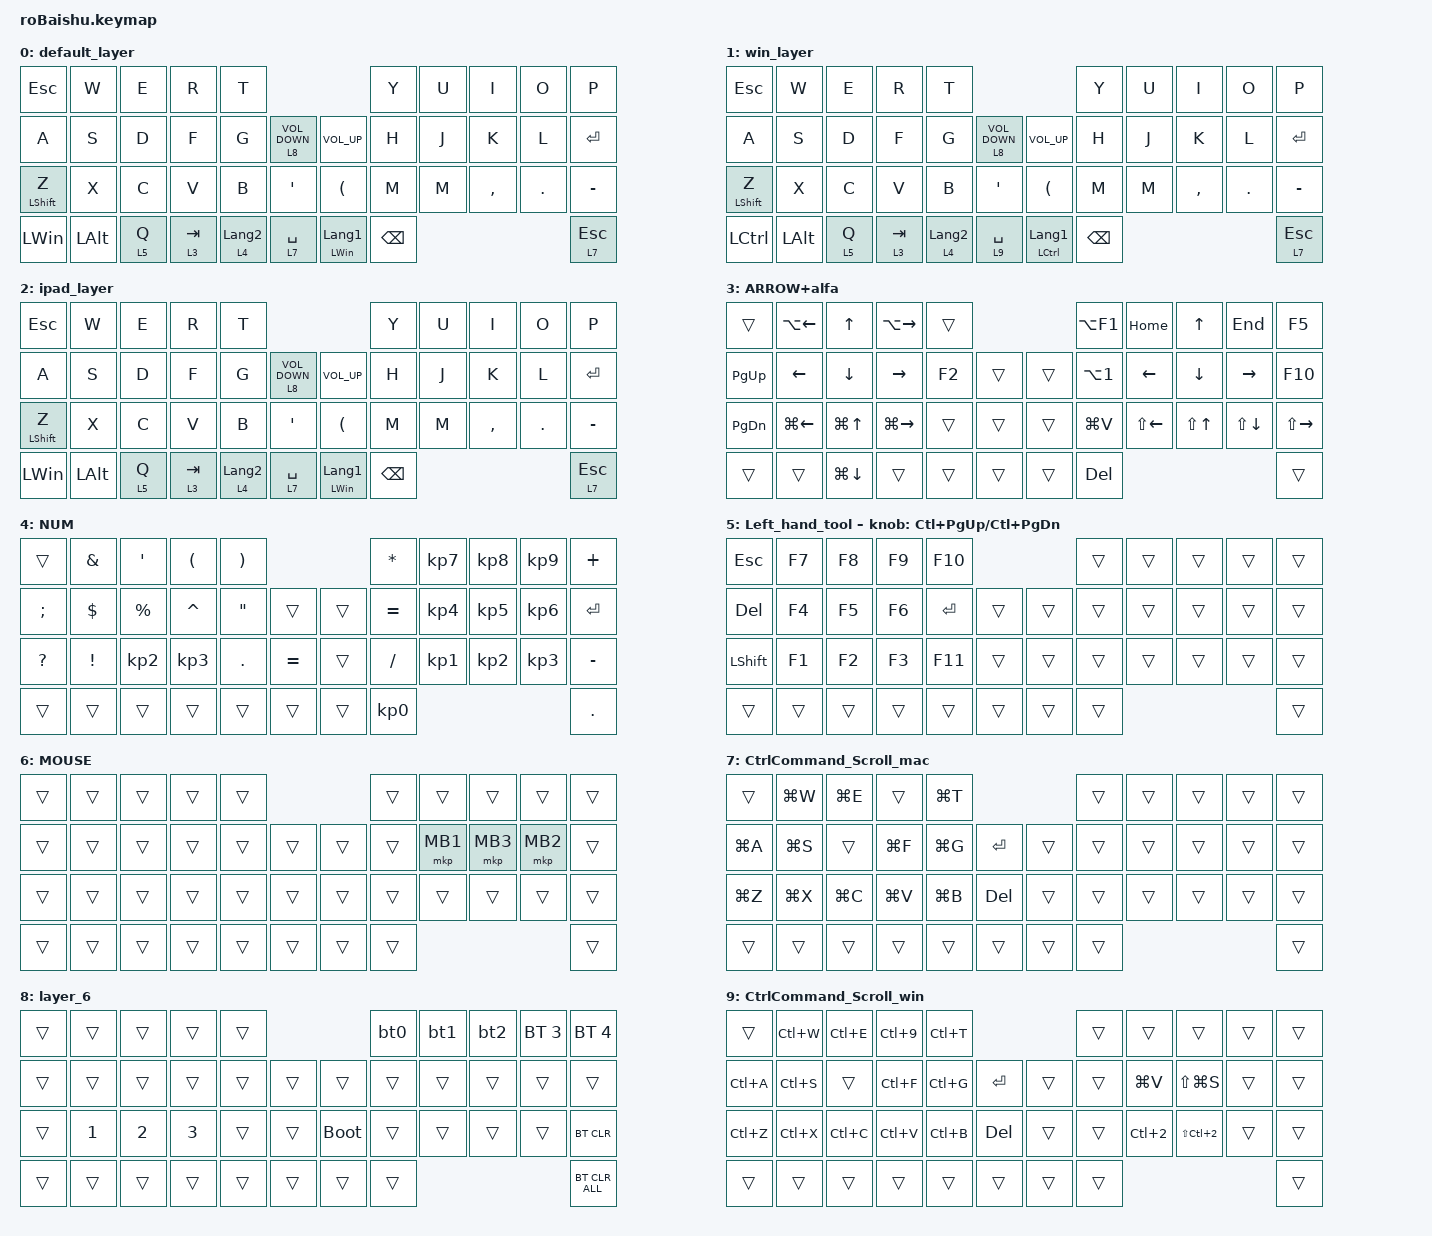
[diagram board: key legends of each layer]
#include <behaviors.dtsi>
#include <dt-bindings/zmk/bt.h>
#include <dt-bindings/zmk/keys.h>
#include <dt-bindings/zmk/pointing.h>
#include <dt-bindings/zmk/pointing.h>

#define MOUSE 4
#define SCROLL 5
#define NUM 6

&mt {
    flavor = "balanced";
    quick-tap-ms = <0>;
};

/ {
    combos {
        compatible = "zmk,combos";

        tab {
            bindings = <&kp TAB>;
            key-positions = <11 12>;
        };

        shift_tab {
            bindings = <&kp LS(TAB)>;
            key-positions = <12 13>;
        };

        muhennkann {
            bindings = <&to_layer_0 INT_MUHENKAN>;
            key-positions = <11 10>;
        };

        double_quotation {
            bindings = <&kp DOUBLE_QUOTES>;
            key-positions = <20 21>;
        };

        eq {
            bindings = <&kp EQUAL>;
            key-positions = <24 25>;
        };
    };

    macros {
        to_layer_0: to_layer_0 {
            compatible = "zmk,behavior-macro-one-param";
            #binding-cells = <1>;
            bindings = <&to 0 &macro_param_1to1 &kp MACRO_PLACEHOLDER>;
            label = "TO_LAYER_0";
        };

        bt0: bt0 {
            compatible = "zmk,behavior-macro";
            #binding-cells = <0>;
            bindings =
                <&tog_off 1 &tog_off 2>,
                <&macro_wait_time 200>,
                <&bt BT_SEL 0>,
                <&macro_wait_time 500>;

            label = "BT0";
        };

        bt1: bt1 {
            compatible = "zmk,behavior-macro";
            #binding-cells = <0>;
            bindings =
                <&tog_off 1 &tog_off 2>,
                <&macro_wait_time 200>,
                <&bt BT_SEL 1>,
                <&macro_wait_time 500>,
                <&tog_on 1>;

            label = "BT1";
        };

        bt2: bt2 {
            compatible = "zmk,behavior-macro";
            #binding-cells = <0>;
            bindings =
                <&tog_off 1 &tog_off 2>,
                <&macro_wait_time 200>,
                <&bt BT_SEL 2>,
                <&macro_wait_time 500>,
                <&tog_on 2>;

            label = "BT2";
        };
    };

    behaviors {
        lt_to_layer_0: lt_to_layer_0 {
            compatible = "zmk,behavior-hold-tap";
            label = "LAYER_TAP_TO_0";
            bindings = <&mo>, <&to_layer_0>;

            #binding-cells = <2>;
            tapping-term-ms = <200>;
        };

        scroll_up_down: behavior_sensor_rotate_mouse_wheel_up_down {
            compatible = "zmk,behavior-sensor-rotate";
            #sensor-binding-cells = <0>;
            bindings = <&msc SCRL_UP>, <&msc SCRL_DOWN>;

            tap-ms = <20>;
        };

        tog_on: toggle_layer_on_only {
            compatible = "zmk,behavior-toggle-layer";
            #binding-cells = <1>;
            display-name = "Toggle Layer On";
            toggle-mode = "on";
        };

        tog_off: toggle_layer_off_only {
            compatible = "zmk,behavior-toggle-layer";
            #binding-cells = <1>;
            display-name = "Toggle Layer Off";
            toggle-mode = "off";
        };
    };

    keymap {
        compatible = "zmk,keymap";

        default_layer {
            bindings = <
&kp ESC       &kp W         &kp E               &kp R      &kp T                                                               &kp Y          &kp U  &kp I      &kp O       &kp P
&kp A         &kp S         &kp D               &kp F      &kp G             &lt 8 C_VOLUME_DOWN      &kp C_VOLUME_UP          &kp H          &kp J  &kp K      &kp L       &kp ENTER
&mt LSHIFT Z  &kp X         &kp C               &kp V      &kp B             &kp SQT                  &kp LEFT_PARENTHESIS     &kp M          &kp M  &kp COMMA  &kp PERIOD  &kp MINUS
&kp LEFT_WIN  &kp LEFT_ALT  &lt_to_layer_0 5 Q  &lt 3 TAB  &lt 4 LANGUAGE_2  &lt 7 SPACE              &mt LEFT_WIN LANGUAGE_1  &kp BACKSPACE                                &lt 7 ESCAPE
            >;
        };

        win_layer {
            bindings = <
&kp ESC           &kp W         &kp E               &kp R      &kp T                                                                   &kp Y          &kp U  &kp I      &kp O       &kp P
&kp A             &kp S         &kp D               &kp F      &kp G             &lt 8 C_VOLUME_DOWN      &kp C_VOLUME_UP              &kp H          &kp J  &kp K      &kp L       &kp ENTER
&mt LSHIFT Z      &kp X         &kp C               &kp V      &kp B             &kp SQT                  &kp LEFT_PARENTHESIS         &kp M          &kp M  &kp COMMA  &kp PERIOD  &kp MINUS
&kp LEFT_CONTROL  &kp LEFT_ALT  &lt_to_layer_0 5 Q  &lt 3 TAB  &lt 4 LANGUAGE_2  &lt 9 SPACE              &mt LEFT_CONTROL LANGUAGE_1  &kp BACKSPACE                                &lt 7 ESCAPE
            >;
        };

        ipad_layer {
            bindings = <
&kp ESC       &kp W         &kp E               &kp R      &kp T                                                               &kp Y          &kp U  &kp I      &kp O       &kp P
&kp A         &kp S         &kp D               &kp F      &kp G             &lt 8 C_VOLUME_DOWN      &kp C_VOLUME_UP          &kp H          &kp J  &kp K      &kp L       &kp ENTER
&mt LSHIFT Z  &kp X         &kp C               &kp V      &kp B             &kp SQT                  &kp LEFT_PARENTHESIS     &kp M          &kp M  &kp COMMA  &kp PERIOD  &kp MINUS
&kp LEFT_WIN  &kp LEFT_ALT  &lt_to_layer_0 5 Q  &lt 3 TAB  &lt 4 LANGUAGE_2  &lt 7 SPACE              &mt LEFT_WIN LANGUAGE_1  &kp BACKSPACE                                &lt 7 ESCAPE
            >;
        };

        ARROW+alfa {
            bindings = <
&trans         &kp LA(LEFT_ARROW)  &kp UP_ARROW        &kp LA(RIGHT_ARROW)  &trans                      &kp LA(F1)        &kp HOME            &kp UP_ARROW      &kp END             &kp F5
&kp PAGE_UP    &kp LEFT_ARROW      &kp DOWN_ARROW      &kp RIGHT_ARROW      &kp F2  &trans      &trans  &kp LA(NUMBER_1)  &kp LEFT_ARROW      &kp DOWN_ARROW    &kp RIGHT_ARROW     &kp F10
&kp PAGE_DOWN  &kp LG(LEFT_ARROW)  &kp LG(UP_ARROW)    &kp LG(RIGHT_ARROW)  &trans  &trans      &trans  &kp LG(V)         &kp LS(LEFT_ARROW)  &kp LS(UP_ARROW)  &kp LS(DOWN_ARROW)  &kp LS(RIGHT_ARROW)
&trans         &trans              &kp LG(DOWN_ARROW)  &trans               &trans  &trans      &trans  &kp DELETE                                                                  &trans
            >;
        };

        NUM {
            bindings = <
&trans         &kp AMPERSAND    &kp SQT          &kp LEFT_PARENTHESIS  &kp RIGHT_PARENTHESIS                         &kp ASTERISK     &kp KP_NUMBER_7  &kp KP_NUMBER_8  &kp KP_NUMBER_9  &kp PLUS
&kp SEMICOLON  &kp DOLLAR       &kp PERCENT      &kp CARET             &kp DOUBLE_QUOTES      &trans         &trans  &kp EQUAL        &kp KP_NUMBER_4  &kp KP_NUMBER_5  &kp KP_NUMBER_6  &kp ENTER
&kp QUESTION   &kp EXCLAMATION  &kp KP_NUMBER_2  &kp KP_NUMBER_3       &kp PERIOD             &kp EQUAL      &trans  &kp SLASH        &kp KP_NUMBER_1  &kp KP_NUMBER_2  &kp KP_NUMBER_3  &kp MINUS
&trans         &trans           &trans           &trans                &trans                 &trans         &trans  &kp KP_NUMBER_0                                                     &kp PERIOD
            >;
        };

        Left_hand_tool {
            bindings = <
&kp ESCAPE      &kp F7  &kp F8  &kp F9  &kp F10                        &trans  &trans  &trans  &trans  &trans
&kp DELETE      &kp F4  &kp F5  &kp F6  &kp ENTER  &trans      &trans  &trans  &trans  &trans  &trans  &trans
&kp LEFT_SHIFT  &kp F1  &kp F2  &kp F3  &kp F11    &trans      &trans  &trans  &trans  &trans  &trans  &trans
&trans          &trans  &trans  &trans  &trans     &trans      &trans  &trans                          &trans
            >;

            sensor-bindings = <&inc_dec_kp LC(PAGE_UP) LC(PAGE_DOWN)>;
        };

        MOUSE {
            bindings = <
&trans  &trans  &trans  &trans  &trans                      &trans  &trans    &trans    &trans    &trans
&trans  &trans  &trans  &trans  &trans  &trans      &trans  &trans  &mkp MB1  &mkp MB3  &mkp MB2  &trans
&trans  &trans  &trans  &trans  &trans  &trans      &trans  &trans  &trans    &trans    &trans    &trans
&trans  &trans  &trans  &trans  &trans  &trans      &trans  &trans                                &trans
            >;
        };

        CtrlCommand_Scroll_mac {
            bindings = <
&trans     &kp LG(W)  &kp LG(E)  &trans     &kp LG(T)                         &trans  &trans  &trans  &trans  &trans
&kp LG(A)  &kp LG(S)  &trans     &kp LG(F)  &kp LG(G)  &kp ENTER      &trans  &trans  &trans  &trans  &trans  &trans
&kp LG(Z)  &kp LG(X)  &kp LG(C)  &kp LG(V)  &kp LG(B)  &kp DEL        &trans  &trans  &trans  &trans  &trans  &trans
&trans     &trans     &trans     &trans     &trans     &trans         &trans  &trans                          &trans
            >;
        };

        layer_6 {
            bindings = <
&trans  &trans        &trans        &trans        &trans                           &bt0    &bt1    &bt2    &bt BT_SEL 3  &bt BT_SEL 4
&trans  &trans        &trans        &trans        &trans  &trans      &trans       &trans  &trans  &trans  &trans        &trans
&trans  &kp NUMBER_1  &kp NUMBER_2  &kp NUMBER_3  &trans  &trans      &bootloader  &trans  &trans  &trans  &trans        &bt BT_CLR
&trans  &trans        &trans        &trans        &trans  &trans      &trans       &trans                                &bt BT_CLR_ALL
            >;
        };

        CtrlCommand_Scroll_win {
            bindings = <
&trans     &kp LC(W)  &kp LC(E)  &kp LC(N9)  &kp LC(T)                         &trans  &trans            &trans                &trans  &trans
&kp LC(A)  &kp LC(S)  &trans     &kp LC(F)   &kp LC(G)  &kp ENTER      &trans  &trans  &kp LG(V)         &kp LS(LG(S))         &trans  &trans
&kp LC(Z)  &kp LC(X)  &kp LC(C)  &kp LC(V)   &kp LC(B)  &kp DEL        &trans  &trans  &kp LC(NUMBER_2)  &kp LS(LC(NUMBER_2))  &trans  &trans
&trans     &trans     &trans     &trans      &trans     &trans         &trans  &trans                                                  &trans
            >;
        };
    };
};
